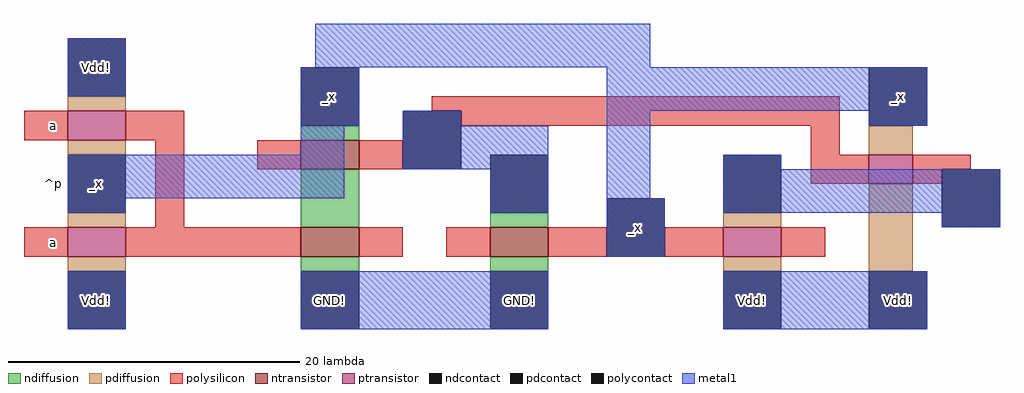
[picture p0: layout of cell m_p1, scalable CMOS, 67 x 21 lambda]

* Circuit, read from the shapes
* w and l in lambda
.subckt m_p1 GND! Vdd! _x a
M1 n1 a GND! VSUBS nfet w=4 l=2
M2 _x n2 n1 VSUBS nfet w=4 l=2
M3 n2 _x GND! VSUBS nfet w=4 l=2
M4 _x a Vdd! NWELL pfet w=4 l=2 m=2
M5 n2 _x Vdd! NWELL pfet w=4 l=2
M6 _x n2 Vdd! NWELL pfet w=3 l=2
.ends

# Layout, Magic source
magic
tech scmos
<< ndiffusion >>
rect -90 49 -86 50
rect -90 43 -86 47
rect -77 43 -73 44
rect -90 40 -86 41
rect -77 40 -73 41
<< pdiffusion >>
rect -106 51 -102 52
rect -106 48 -102 49
rect -106 43 -102 44
rect -51 48 -48 50
rect -61 43 -57 44
rect -106 40 -102 41
rect -61 40 -57 41
rect -51 40 -48 46
<< ntransistor >>
rect -90 47 -86 49
rect -90 41 -86 43
rect -77 41 -73 43
<< ptransistor >>
rect -106 49 -102 51
rect -106 41 -102 43
rect -51 46 -48 48
rect -61 41 -57 43
<< polysilicon >>
rect -109 49 -106 51
rect -102 49 -98 51
rect -81 51 -53 52
rect -100 43 -98 49
rect -93 47 -90 49
rect -86 47 -83 49
rect -79 50 -53 51
rect -55 48 -53 50
rect -109 41 -106 43
rect -102 41 -90 43
rect -86 41 -83 43
rect -80 41 -77 43
rect -73 41 -69 43
rect -55 46 -51 48
rect -48 47 -44 48
rect -48 46 -46 47
rect -65 41 -61 43
rect -57 41 -54 43
<< ndcontact >>
rect -90 50 -86 54
rect -77 44 -73 48
rect -90 36 -86 40
rect -77 36 -73 40
<< pdcontact >>
rect -106 52 -102 56
rect -106 44 -102 48
rect -51 50 -47 54
rect -61 44 -57 48
rect -106 36 -102 40
rect -61 36 -57 40
rect -51 36 -47 40
<< polycontact >>
rect -83 47 -79 51
rect -69 41 -65 45
rect -46 43 -42 47
<< metal1 >>
rect -106 52 -102 56
rect -89 54 -66 57
rect -90 50 -86 54
rect -69 51 -47 54
rect -83 50 -79 51
rect -90 48 -87 50
rect -106 45 -87 48
rect -83 47 -73 50
rect -106 44 -102 45
rect -77 44 -73 47
rect -69 45 -66 51
rect -51 50 -47 51
rect -61 47 -57 48
rect -69 41 -65 45
rect -61 44 -42 47
rect -46 43 -42 44
rect -106 36 -102 40
rect -90 36 -73 40
rect -61 36 -47 40
<< labels >>
rlabel polysilicon -107 42 -107 42 3 a
rlabel polysilicon -107 50 -107 50 3 a
rlabel space -109 35 -105 57 7 ^p
rlabel pdcontact -104 38 -104 38 1 Vdd!
rlabel pdcontact -104 54 -104 54 5 Vdd!
rlabel pdcontact -104 46 -104 46 3 _x
rlabel ndcontact -88 52 -88 52 5 _x
rlabel polycontact -67 43 -67 43 1 _x
rlabel ndcontact -88 38 -88 38 1 GND!
rlabel ndcontact -75 38 -75 38 1 GND!
rlabel pdcontact -49 52 -49 52 1 _x
rlabel pdcontact -49 38 -49 38 1 Vdd!
rlabel pdcontact -59 38 -59 38 1 Vdd!
<< end >>
